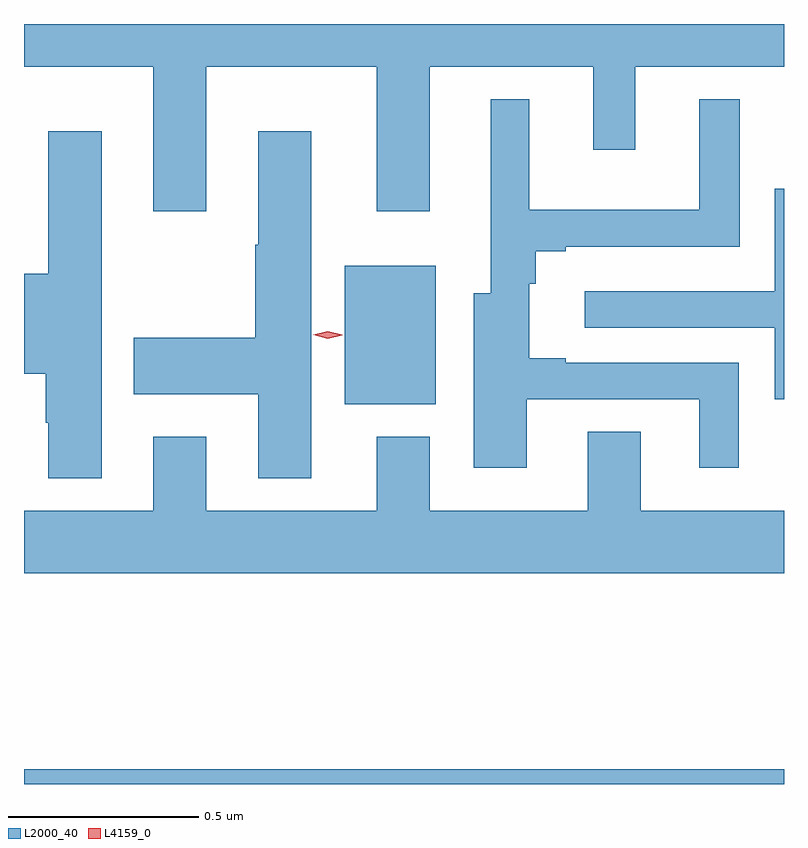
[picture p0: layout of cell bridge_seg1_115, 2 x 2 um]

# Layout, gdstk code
import gdstk
lib = gdstk.Library(unit=1e-6, precision=1e-09)
def R(c, l, rs):  # rectangles x0, y0, x1, y1
    for r in rs: c.add(gdstk.rectangle(r[:2], r[2:], *l))
def P(c, l, *ps):  # polygons
    for p in ps: c.add(gdstk.Polygon(p, *l))
L2000_40 = (2000, 40)
L4159_0 = (4159, 0)

bridge_seg1_115 = lib.new_cell('bridge_seg1_115')
R(bridge_seg1_115, L2000_40, [(322.021,504.557,324.021,504.596), (322.865,505.556,323.104,505.921)])
P(bridge_seg1_115, L2000_40, [(322.501,506.444),(322.949,506.444),(322.949,506.064),(323.089,506.064),(323.089,506.444),(323.519,506.444),(323.519,506.226),(323.629,506.226),(323.629,506.444),(324.021,506.444),(324.021,506.557),(322.021,506.557),(322.021,506.444),(322.361,506.444),(322.361,506.064),(322.501,506.064)],
  [(323.344,505.569),(323.798,505.569),(323.798,505.389),(323.902,505.389),(323.902,505.665),(323.446,505.665),(323.446,505.678),(323.35,505.678),(323.35,505.874),(323.368,505.874),(323.368,505.959),(323.446,505.959),(323.446,505.971),(323.905,505.971),(323.905,506.359),(323.798,506.359),(323.798,506.068),(323.35,506.068),(323.35,506.359),(323.249,506.359),(323.249,505.849),(323.204,505.849),(323.204,505.389),(323.344,505.389)],
  [(322.777,506.275),(322.637,506.275),(322.637,505.976),(322.63,505.976),(322.63,505.731),(322.31,505.731),(322.31,505.583),(322.637,505.583),(322.637,505.362),(322.777,505.362)],
  [(322.225,506.275),(322.085,506.275),(322.085,505.9),(322.021,505.9),(322.021,505.637),(322.078,505.637),(322.078,505.508),(322.085,505.508),(322.085,505.362),(322.225,505.362)],
  [(324.021,506.124),(323.997,506.124),(323.997,505.854),(323.496,505.854),(323.496,505.758),(323.997,505.758),(323.997,505.569),(324.021,505.569)],
  [(324.021,505.276),(323.644,505.276),(323.644,505.484),(323.504,505.484),(323.504,505.276),(323.089,505.276),(323.089,505.471),(322.949,505.471),(322.949,505.276),(322.501,505.276),(322.501,505.471),(322.361,505.471),(322.361,505.276),(322.021,505.276),(322.021,505.112),(324.021,505.112)])
P(bridge_seg1_115, L4159_0, [(322.82,505.729),(322.782,505.739),(322.782,505.739),(322.782,505.739),(322.82,505.749),(322.858,505.739),(322.859,505.739),(322.858,505.738)])

lib.write_gds('bridge_seg1_115.gds')
